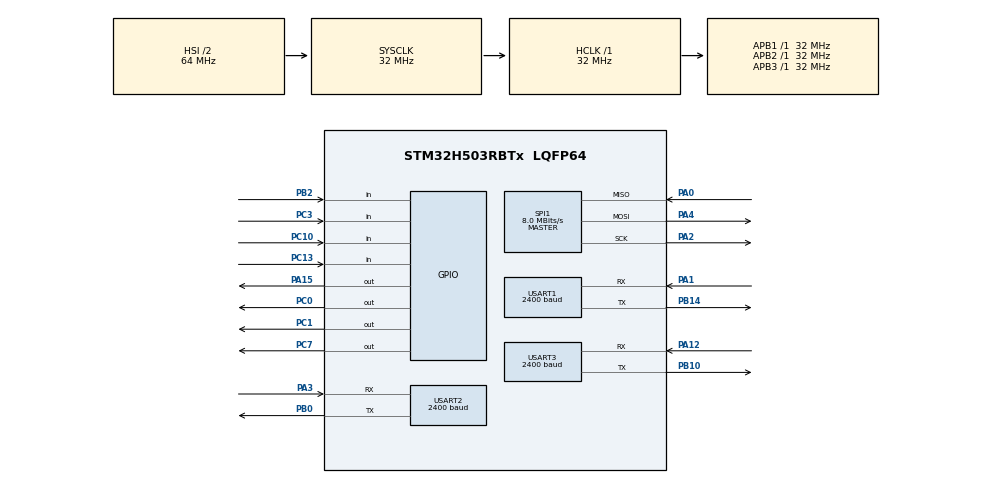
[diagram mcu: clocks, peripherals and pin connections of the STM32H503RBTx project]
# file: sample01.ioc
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GPDMA1.DIRECTION_GPDMACH7=DMA_MEMORY_TO_PERIPH
GPDMA1.IPHANDLE_GPDMACH7-SIMPLEREQUEST_GPDMACH7=__NULL
GPDMA1.REQUEST_GPDMACH7=GPDMA1_REQUEST_USART3_TX
GPDMA1.SRCINC_GPDMACH7=DMA_SINC_INCREMENTED
GPDMA2.DIRECTION_GPDMACH7=DMA_MEMORY_TO_PERIPH
GPDMA2.IPHANDLE_GPDMACH7-SIMPLEREQUEST_GPDMACH7=__NULL
GPDMA2.REQUEST_GPDMACH7=GPDMA1_REQUEST_SPI1_TX
Mcu.Family=STM32H5
Mcu.Name=STM32H503RBTx
Mcu.Package=LQFP64
NVIC.GPDMA1_Channel7_IRQn=true\:0\:0\:false\:false\:true\:false\:true\:true
NVIC.GPDMA2_Channel7_IRQn=true\:0\:0\:false\:false\:true\:false\:true\:true
NVIC.PriorityGroup=NVIC_PRIORITYGROUP_4
NVIC.TIM1_BRK_IRQn=true\:0\:0\:false\:false\:true\:true\:true\:true
NVIC.TIM1_CC_IRQn=true\:0\:0\:false\:false\:true\:true\:true\:true
NVIC.TIM1_TRG_COM_IRQn=true\:0\:0\:false\:false\:true\:true\:true\:true
NVIC.TIM1_UP_IRQn=true\:0\:0\:false\:false\:true\:true\:true\:true
NVIC.TIM2_IRQn=true\:0\:0\:false\:false\:true\:true\:true\:true
NVIC.USART1_IRQn=true\:0\:0\:false\:false\:true\:true\:true\:true
NVIC.USART2_IRQn=true\:0\:0\:false\:false\:true\:true\:true\:true
PA0.Mode=Full_Duplex_Master
PA0.Signal=SPI1_MISO
PA1.Mode=IrDA
PA1.Signal=USART1_RX
PA12.Mode=IrDA
PA12.Signal=USART3_RX
PA15(JTDI).GPIO_ModeDefaultOutputPP=GPIO_MODE_OUTPUT_PP
PA15(JTDI).GPIO_PuPd=GPIO_NOPULL
PA15(JTDI).GPIO_Speed=GPIO_SPEED_FREQ_LOW
PA15(JTDI).Signal=GPIO_Output
PA2.Mode=Full_Duplex_Master
PA2.Signal=SPI1_SCK
PA3.Mode=IrDA
PA3.Signal=USART2_RX
PA4.Mode=Full_Duplex_Master
PA4.Signal=SPI1_MOSI
PB0.Mode=IrDA
PB0.Signal=USART2_TX
PB10.Mode=IrDA
PB10.Signal=USART3_TX
PB14.Mode=IrDA
PB14.Signal=USART1_TX
PB2.GPIO_PuPd=GPIO_PULLUP
PB2.Signal=GPIO_Input
PC0.Signal=GPIO_Output
PC1.Signal=GPIO_Output
PC10.GPIO_PuPd=GPIO_PULLUP
PC10.Signal=GPIO_Input
PC13.GPIO_PuPd=GPIO_PULLUP
PC13.Signal=GPIO_Input
PC3.GPIO_PuPd=GPIO_PULLUP
PC3.Signal=GPIO_Input
PC7.Signal=GPIO_Output
PH0-OSC_IN(PH0).Mode=HSE-External-Oscillator
PH0-OSC_IN(PH0).Signal=RCC_OSC_IN
PH1-OSC_OUT(PH1).Mode=HSE-External-Oscillator
PH1-OSC_OUT(PH1).Signal=RCC_OSC_OUT
ProjectManager.HeapSize=0x200
ProjectManager.StackSize=0x400
ProjectManager.TargetToolchain=STM32CubeIDE
RCC.ADCFreq_Value=32000000
RCC.AHBFreq_Value=32000000
RCC.APB1Freq_Value=32000000
RCC.APB1TimFreq_Value=32000000
RCC.APB2Freq_Value=32000000
RCC.APB2TimFreq_Value=32000000
RCC.APB3Freq_Value=32000000
RCC.CSI_VALUE=4000000
RCC.CortexFreq_Value=32000000
RCC.EPOD_VALUE=4000000
RCC.HCLKFreq_Value=32000000
RCC.HSE_VALUE=25000000
RCC.HSI48_VALUE=48000000
RCC.HSI_VALUE=64000000
RCC.LSE_VALUE=32768
RCC.LSIRC_VALUE=32000
RCC.PLLFRACN=0
RCC.PLLN=32
RCC.SYSCLKFreq_VALUE=32000000
RCC.USBFreq_Value=48000000
RCC.VCOOutputFreq_Value=128000000
SPI1.BaudRatePrescaler=SPI_BAUDRATEPRESCALER_8
SPI1.CalculateBaudRate=8.0 MBits/s
SPI1.DataSize=SPI_DATASIZE_8BIT
SPI1.Direction=SPI_DIRECTION_2LINES
SPI1.Mode=SPI_MODE_MASTER
SPI1.VirtualType=VM_MASTER
TIM1.PeriodNoDither=10
TIM1.Prescaler=32000
TIM2.PeriodNoDither=100
TIM2.Prescaler=32000
USART1.BaudRate=2400
USART1.VirtualMode=VM_IRDA
USART2.BaudRate=2400
USART2.VirtualMode=VM_IRDA
USART3.BaudRate=2400
USART3.VirtualMode=VM_IRDA
VP_BOOTPATH_VS_BOOTPATH.Mode=BP_Activate
VP_GPDMA1_VS_GPDMACH7.Mode=SIMPLEREQUEST_GPDMACH7
VP_GPDMA2_VS_GPDMACH7.Mode=SIMPLEREQUEST_GPDMACH7
VP_MEMORYMAP_VS_MEMORYMAP.Mode=CurAppReg
VP_PWR_VS_DBSignals.Mode=DisableDeadBatterySignals
VP_PWR_VS_LPOM.Mode=PowerOptimisation
VP_PWR_VS_SECSignals.Mode=Security/Privilege
VP_TIM1_VS_ClockSourceINT.Mode=Internal
VP_TIM2_VS_ClockSourceINT.Mode=Internal
board=custom

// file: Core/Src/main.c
/* USER CODE BEGIN Header */
/**
 ******************************************************************************
 * @file           : main.c
 * @brief          : Main program body
 ******************************************************************************
 * @attention
 *
 * Copyright (c) 2023 STMicroelectronics.
 * All rights reserved.
 *
 * This software is licensed under terms that can be found in the LICENSE file
 * in the root directory of this software component.
 * If no LICENSE file comes with this software, it is provided AS-IS.
 *
 ******************************************************************************
 */
/* USER CODE END Header */
#include "main.h"

/* USER CODE BEGIN Includes */
#include "boards.h"
#include "digital_block.h"
#include <string.h>
#include <stdio.h>
/* USER CODE END Includes */

SPI_HandleTypeDef hspi1;
DMA_HandleTypeDef handle_GPDMA2_Channel7;

TIM_HandleTypeDef htim1;
TIM_HandleTypeDef htim2;

IRDA_HandleTypeDef hirda1;
IRDA_HandleTypeDef hirda2;
IRDA_HandleTypeDef hirda3;
DMA_HandleTypeDef handle_GPDMA1_Channel7;

/* USER CODE BEGIN PV */
uint8_t buff_a[] = "d";
uint8_t buff_b[] = "d";

bool a = false;
bool b = false;
bool current = false;

enum Mode mode = MODE_TRUE;
/* USER CODE END PV */

void SystemClock_Config(void);
static void MX_GPIO_Init(void);
static void MX_GPDMA1_Init(void);
static void MX_GPDMA2_Init(void);
static void MX_MEMORYMAP_Init(void);
static void MX_USART3_IRDA_Init(void);
static void MX_SPI1_Init(void);
static void MX_TIM1_Init(void);
static void MX_TIM2_Init(void);
static void MX_USART1_IRDA_Init(void);
static void MX_USART2_IRDA_Init(void);

/* USER CODE BEGIN 0 */
void HAL_IRDA_RxCpltCallback(IRDA_HandleTypeDef *huart)
{
	if (huart->Instance == hirda1.Instance) {
		if (memcmp(buff_a, code_false, code_len) == 0) {
			 a = false;
		} else if(memcmp(buff_a, code_true, code_len) == 0) {
			 a = true;
		}
		HAL_IRDA_Receive_IT(&hirda1, buff_a, code_len);
	} else if (huart->Instance == hirda2.Instance) {
		if (memcmp(buff_b, code_false, code_len) == 0) {
			 b = false;
		} else if(memcmp(buff_a, code_true, code_len) == 0) {
			 b = true;
		}
		HAL_IRDA_Receive_IT(&hirda2, buff_b, code_len);
	}
}

void transmit(bool c) {
	if (c) {
		HAL_IRDA_Transmit(&hirda3, code_true, code_len, 100);
	} else {
		HAL_IRDA_Transmit(&hirda3, code_false, code_len, 100);
	}
}

void process(enum Mode mode, bool a, bool b) {
	bool result = false;

	switch(mode) {
		case MODE_TRUE:
			result = true;
			break;
		case MODE_FALSE:
			result = false;
			break;
		case MODE_AND:
			result = a && b;
			break;
		case MODE_OR:
			result = a || b;
			break;
		case MODE_NOTA:
			result = !a;
			break;
		case MODE_NOTB:
			result = !b;
			break;
		case MODE_NAND:
			result = !(a && b);
			break;
		case MODE_NOR:
			result = !(a || b);
			break;
		case MODE_XOR:
			result = a != b;
			break;
		case MODE_EQ:
			result = a == b;
			break;
		case MODE_A:
			result = a;
			break;
		case MODE_B:
			result = b;
			break;
		case MODE_END:
			result = false;
			break;
	}

	current = result;
	transmit(result);
}

void HAL_TIM_PeriodElapsedCallback(TIM_HandleTypeDef *htim) {
  if (htim->Instance == htim1.Instance) {
	  Button_Update();
  } else if(htim->Instance == htim2.Instance){
	  process(mode, a, b);
  }
}

void Button_ShortRelease(uint8_t btnCode) {
	switch(btnCode) {
		case 0:
			break;
		case 1:
			if (mode == 0) {
				mode = MODE_END - 1;
			} else {
				mode = mode - 1;
			}
			break;
		case 2:
			mode = 0;
			break;
		case 3:
			mode = (mode + 1) % MODE_END;
			break;
	}
}

void Button_LongPress(uint8_t btnCode) {
}

void Button_LongRelease(uint8_t btnCode) {
}

void write_mode(enum Mode mode) {
	switch(mode) {
		case MODE_TRUE:
			ST7735_WriteString(40, 30, "True ", Font_16x26, ST7735_WHITE, ST7735_BLACK);
			break;
		case MODE_FALSE:
			ST7735_WriteString(40, 30, "False", Font_16x26, ST7735_WHITE, ST7735_BLACK);
			break;
		case MODE_AND:
			ST7735_WriteString(40, 30, "And  ", Font_16x26, ST7735_WHITE, ST7735_BLACK);
			break;
		case MODE_OR:
			ST7735_WriteString(40, 30, "Or   ", Font_16x26, ST7735_WHITE, ST7735_BLACK);
			break;
		case MODE_NOTA:
			ST7735_WriteString(40, 30, "Not A", Font_16x26, ST7735_WHITE, ST7735_BLACK);
			break;
		case MODE_NOTB:
			ST7735_WriteString(40, 30, "Not B", Font_16x26, ST7735_WHITE, ST7735_BLACK);
			break;
		case MODE_NAND:
			ST7735_WriteString(40, 30, "Nand ", Font_16x26, ST7735_WHITE, ST7735_BLACK);
			break;
		case MODE_NOR:
			ST7735_WriteString(40, 30, "Nor  ", Font_16x26, ST7735_WHITE, ST7735_BLACK);
			break;
		case MODE_XOR:
			ST7735_WriteString(40, 30, "Xor  ", Font_16x26, ST7735_WHITE, ST7735_BLACK);
			break;
		case MODE_EQ:
			ST7735_WriteString(40, 30, "Eq   ", Font_16x26, ST7735_WHITE, ST7735_BLACK);
			break;
		case MODE_A:
			ST7735_WriteString(40, 30, "A    ", Font_16x26, ST7735_WHITE, ST7735_BLACK);
			break;
		case MODE_B:
			ST7735_WriteString(40, 30, "B    ", Font_16x26, ST7735_WHITE, ST7735_BLACK);
			break;
		case MODE_END:
			break;
	}
}

uint8_t ReadSwitch(const GPIO_TypeDef *port, const uint32_t pin) {
	return !HAL_GPIO_ReadPin(port, pin);
}
/* USER CODE END 0 */

int main(void)
{
  /* USER CODE BEGIN 1 */
	setbuf(stdout, NULL);
  /* USER CODE END 1 */

  /* MCU Configuration--------------------------------------------------------*/

  /* Reset of all peripherals, Initializes the Flash interface and the Systick. */
  HAL_Init();

  /* Configure the system clock */
  SystemClock_Config();

  /* Initialize all configured peripherals */
  MX_GPIO_Init();
  MX_GPDMA1_Init();
  MX_GPDMA2_Init();
  MX_MEMORYMAP_Init();
  MX_USART3_IRDA_Init();
  MX_SPI1_Init();
  MX_TIM1_Init();
  MX_TIM2_Init();
  MX_USART1_IRDA_Init();
  MX_USART2_IRDA_Init();
  /* USER CODE BEGIN 2 */
	ST7735_Init();
	ST7735_InvertColors(false);
  //
  btn_instance_t btn_inst[4] = {
      {
          {0, 0, 0},
          0,
          0,
          0,
          BUTTON_RIGHT_GPIO,
          BUTTON_RIGHT_PIN,
      },
      {
          {0, 0, 0},
          0,
          0,
          0,
          BUTTON_UP_GPIO,
          BUTTON_UP_PIN,
      },
      {
          {0, 0, 0},
          0,
          0,
          0,
          BUTTON_LEFT_GPIO,
          BUTTON_LEFT_PIN,
      },
      {
          {0, 0, 0},
          0,
          0,
          0,
          BUTTON_DOWN_GPIO,
          BUTTON_DOWN_PIN,
      },
  };

  btn_init_t btn_init = {
      0,
      0,
      10,
      30,
      0,
      (port_read_cb_t)ReadSwitch,
      Button_ShortRelease,
      Button_LongRelease,
      Button_LongPress,
  };

  Button_Init(&btn_init, btn_inst, 4);
  HAL_TIM_Base_Start_IT(&htim1);	// Timer for button
  HAL_TIM_Base_Start_IT(&htim2);	// Timer for IR transmit
  ST7735_FillScreenFast(ST7735_BLACK);
  HAL_GPIO_WritePin(LED_GPIO, LED_PIN, RESET);
  HAL_IRDA_Receive_IT(&hirda1, buff_a, code_len);
  HAL_IRDA_Receive_IT(&hirda2, buff_b, code_len);
  /* USER CODE END 2 */

  /* Infinite loop */
  /* USER CODE BEGIN WHILE */
  while (1) {
    if (a) {
//    	HAL_GPIO_WritePin(GPIOA, GPIO_PIN_15, SET);
    	ST7735_WriteString(5, 5, "1", Font_16x26, ST7735_WHITE, ST7735_BLACK);
    } else {
//    	HAL_GPIO_WritePin(GPIOA, GPIO_PIN_15, RESET);
    	ST7735_WriteString(5, 5, "0", Font_16x26, ST7735_WHITE, ST7735_BLACK);
    }

    if (b) {
//    	HAL_GPIO_WritePin(GPIOA, GPIO_PIN_15, SET);
    	ST7735_WriteString(5, 49, "1", Font_16x26, ST7735_WHITE, ST7735_BLACK);
    } else {
//    	HAL_GPIO_WritePin(GPIOA, GPIO_PIN_15, RESET);
    	ST7735_WriteString(5, 49, "0", Font_16x26, ST7735_WHITE, ST7735_BLACK);
    }

    if (current) {
//    	HAL_GPIO_WritePin(GPIOA, GPIO_PIN_15, SET);
    	ST7735_WriteString(139, 30, "1", Font_16x26, ST7735_WHITE, ST7735_BLACK);
    } else {
//    	HAL_GPIO_WritePin(GPIOA, GPIO_PIN_15, RESET);
    	ST7735_WriteString(139, 30, "0", Font_16x26, ST7735_WHITE, ST7735_BLACK);
    }
    write_mode(mode);
    printf("%d, %d\r\n", mode, current);
    HAL_Delay(1000);
    /* USER CODE END WHILE */

  }
}

void SystemClock_Config(void)
{
  RCC_OscInitTypeDef RCC_OscInitStruct = {0};
  RCC_ClkInitTypeDef RCC_ClkInitStruct = {0};

  /** Configure the main internal regulator output voltage
  */
  __HAL_PWR_VOLTAGESCALING_CONFIG(PWR_REGULATOR_VOLTAGE_SCALE3);

  while(!__HAL_PWR_GET_FLAG(PWR_FLAG_VOSRDY)) {}

  /** Initializes the RCC Oscillators according to the specified parameters
  * in the RCC_OscInitTypeDef structure.
  */
  RCC_OscInitStruct.OscillatorType = RCC_OSCILLATORTYPE_HSI|RCC_OSCILLATORTYPE_CSI;
  RCC_OscInitStruct.HSIState = RCC_HSI_ON;
  RCC_OscInitStruct.HSIDiv = RCC_HSI_DIV2;
  RCC_OscInitStruct.HSICalibrationValue = RCC_HSICALIBRATION_DEFAULT;
  RCC_OscInitStruct.CSIState = RCC_CSI_ON;
  RCC_OscInitStruct.CSICalibrationValue = RCC_CSICALIBRATION_DEFAULT;
  RCC_OscInitStruct.PLL.PLLState = RCC_PLL_ON;
  RCC_OscInitStruct.PLL.PLLSource = RCC_PLL1_SOURCE_CSI;
  RCC_OscInitStruct.PLL.PLLM = 1;
  RCC_OscInitStruct.PLL.PLLN = 32;
  RCC_OscInitStruct.PLL.PLLP = 2;
  RCC_OscInitStruct.PLL.PLLQ = 2;
  RCC_OscInitStruct.PLL.PLLR = 2;
  RCC_OscInitStruct.PLL.PLLRGE = RCC_PLL1_VCIRANGE_2;
  RCC_OscInitStruct.PLL.PLLVCOSEL = RCC_PLL1_VCORANGE_WIDE;
  RCC_OscInitStruct.PLL.PLLFRACN = 0;
  if (HAL_RCC_OscConfig(&RCC_OscInitStruct) != HAL_OK)
  {
    Error_Handler();
  }

  /** Initializes the CPU, AHB and APB buses clocks
  */
  RCC_ClkInitStruct.ClockType = RCC_CLOCKTYPE_HCLK|RCC_CLOCKTYPE_SYSCLK
                              |RCC_CLOCKTYPE_PCLK1|RCC_CLOCKTYPE_PCLK2
                              |RCC_CLOCKTYPE_PCLK3;
  RCC_ClkInitStruct.SYSCLKSource = RCC_SYSCLKSOURCE_HSI;
  RCC_ClkInitStruct.AHBCLKDivider = RCC_SYSCLK_DIV1;
  RCC_ClkInitStruct.APB1CLKDivider = RCC_HCLK_DIV1;
  RCC_ClkInitStruct.APB2CLKDivider = RCC_HCLK_DIV1;
  RCC_ClkInitStruct.APB3CLKDivider = RCC_HCLK_DIV1;

  if (HAL_RCC_ClockConfig(&RCC_ClkInitStruct, FLASH_LATENCY_1) != HAL_OK)
  {
    Error_Handler();
  }
}

static void MX_GPDMA1_Init(void)
{

  /* Peripheral clock enable */
  __HAL_RCC_GPDMA1_CLK_ENABLE();

  /* GPDMA1 interrupt Init */
    HAL_NVIC_SetPriority(GPDMA1_Channel7_IRQn, 0, 0);
    HAL_NVIC_EnableIRQ(GPDMA1_Channel7_IRQn);

}

static void MX_GPDMA2_Init(void)
{

  /* Peripheral clock enable */
  __HAL_RCC_GPDMA2_CLK_ENABLE();

  /* GPDMA2 interrupt Init */
    HAL_NVIC_SetPriority(GPDMA2_Channel7_IRQn, 0, 0);
    HAL_NVIC_EnableIRQ(GPDMA2_Channel7_IRQn);

}

static void MX_MEMORYMAP_Init(void)
{

}

static void MX_SPI1_Init(void)
{

  /* SPI1 parameter configuration*/
  hspi1.Instance = SPI1;
  hspi1.Init.Mode = SPI_MODE_MASTER;
  hspi1.Init.Direction = SPI_DIRECTION_2LINES;
  hspi1.Init.DataSize = SPI_DATASIZE_8BIT;
  hspi1.Init.CLKPolarity = SPI_POLARITY_LOW;
  hspi1.Init.CLKPhase = SPI_PHASE_1EDGE;
  hspi1.Init.NSS = SPI_NSS_SOFT;
  hspi1.Init.BaudRatePrescaler = SPI_BAUDRATEPRESCALER_8;
  hspi1.Init.FirstBit = SPI_FIRSTBIT_MSB;
  hspi1.Init.TIMode = SPI_TIMODE_DISABLE;
  hspi1.Init.CRCCalculation = SPI_CRCCALCULATION_DISABLE;
  hspi1.Init.CRCPolynomial = 0x7;
  hspi1.Init.NSSPMode = SPI_NSS_PULSE_ENABLE;
  hspi1.Init.NSSPolarity = SPI_NSS_POLARITY_LOW;
  hspi1.Init.FifoThreshold = SPI_FIFO_THRESHOLD_01DATA;
  hspi1.Init.MasterSSIdleness = SPI_MASTER_SS_IDLENESS_00CYCLE;
  hspi1.Init.MasterInterDataIdleness = SPI_MASTER_INTERDATA_IDLENESS_00CYCLE;
  hspi1.Init.MasterReceiverAutoSusp = SPI_MASTER_RX_AUTOSUSP_DISABLE;
  hspi1.Init.MasterKeepIOState = SPI_MASTER_KEEP_IO_STATE_DISABLE;
  hspi1.Init.IOSwap = SPI_IO_SWAP_DISABLE;
  hspi1.Init.ReadyMasterManagement = SPI_RDY_MASTER_MANAGEMENT_INTERNALLY;
  hspi1.Init.ReadyPolarity = SPI_RDY_POLARITY_HIGH;
  if (HAL_SPI_Init(&hspi1) != HAL_OK)
  {
    Error_Handler();
  }

}

static void MX_TIM1_Init(void)
{

  TIM_ClockConfigTypeDef sClockSourceConfig = {0};
  TIM_MasterConfigTypeDef sMasterConfig = {0};

  htim1.Instance = TIM1;
  htim1.Init.Prescaler = 32000;
  htim1.Init.CounterMode = TIM_COUNTERMODE_UP;
  htim1.Init.Period = 10;
  htim1.Init.ClockDivision = TIM_CLOCKDIVISION_DIV1;
  htim1.Init.RepetitionCounter = 0;
  htim1.Init.AutoReloadPreload = TIM_AUTORELOAD_PRELOAD_DISABLE;
  if (HAL_TIM_Base_Init(&htim1) != HAL_OK)
  {
    Error_Handler();
  }
  sClockSourceConfig.ClockSource = TIM_CLOCKSOURCE_INTERNAL;
  if (HAL_TIM_ConfigClockSource(&htim1, &sClockSourceConfig) != HAL_OK)
  {
    Error_Handler();
  }
  sMasterConfig.MasterOutputTrigger = TIM_TRGO_RESET;
  sMasterConfig.MasterOutputTrigger2 = TIM_TRGO2_RESET;
  sMasterConfig.MasterSlaveMode = TIM_MASTERSLAVEMODE_DISABLE;
  if (HAL_TIMEx_MasterConfigSynchronization(&htim1, &sMasterConfig) != HAL_OK)
  {
    Error_Handler();
  }

}

static void MX_TIM2_Init(void)
{

  TIM_ClockConfigTypeDef sClockSourceConfig = {0};
  TIM_MasterConfigTypeDef sMasterConfig = {0};

  htim2.Instance = TIM2;
  htim2.Init.Prescaler = 32000;
  htim2.Init.CounterMode = TIM_COUNTERMODE_UP;
  htim2.Init.Period = 100;
  htim2.Init.ClockDivision = TIM_CLOCKDIVISION_DIV1;
  htim2.Init.AutoReloadPreload = TIM_AUTORELOAD_PRELOAD_DISABLE;
  if (HAL_TIM_Base_Init(&htim2) != HAL_OK)
  {
    Error_Handler();
  }
  sClockSourceConfig.ClockSource = TIM_CLOCKSOURCE_INTERNAL;
  if (HAL_TIM_ConfigClockSource(&htim2, &sClockSourceConfig) != HAL_OK)
  {
    Error_Handler();
  }
  sMasterConfig.MasterOutputTrigger = TIM_TRGO_RESET;
  sMasterConfig.MasterSlaveMode = TIM_MASTERSLAVEMODE_DISABLE;
  if (HAL_TIMEx_MasterConfigSynchronization(&htim2, &sMasterConfig) != HAL_OK)
  {
    Error_Handler();
  }

}

static void MX_USART1_IRDA_Init(void)
{

  hirda1.Instance = USART1;
  hirda1.Init.BaudRate = 2400;
  hirda1.Init.WordLength = IRDA_WORDLENGTH_8B;
  hirda1.Init.Parity = IRDA_PARITY_NONE;
  hirda1.Init.Mode = IRDA_MODE_TX_RX;
  hirda1.Init.Prescaler = 10;
  hirda1.Init.PowerMode = IRDA_POWERMODE_NORMAL;
  hirda1.Init.ClockPrescaler = IRDA_PRESCALER_DIV1;
  if (HAL_IRDA_Init(&hirda1) != HAL_OK)
  {
    Error_Handler();
  }

}

static void MX_USART2_IRDA_Init(void)
{

  hirda2.Instance = USART2;
  hirda2.Init.BaudRate = 2400;
  hirda2.Init.WordLength = IRDA_WORDLENGTH_8B;
  hirda2.Init.Parity = IRDA_PARITY_NONE;
  hirda2.Init.Mode = IRDA_MODE_TX_RX;
  hirda2.Init.Prescaler = 10;
  hirda2.Init.PowerMode = IRDA_POWERMODE_NORMAL;
  hirda2.Init.ClockPrescaler = IRDA_PRESCALER_DIV1;
  if (HAL_IRDA_Init(&hirda2) != HAL_OK)
  {
    Error_Handler();
  }

}

static void MX_USART3_IRDA_Init(void)
{

  hirda3.Instance = USART3;
  hirda3.Init.BaudRate = 2400;
  hirda3.Init.WordLength = IRDA_WORDLENGTH_8B;
  hirda3.Init.Parity = IRDA_PARITY_NONE;
  hirda3.Init.Mode = IRDA_MODE_TX_RX;
  hirda3.Init.Prescaler = 10;
  hirda3.Init.PowerMode = IRDA_POWERMODE_NORMAL;
  hirda3.Init.ClockPrescaler = IRDA_PRESCALER_DIV1;
  if (HAL_IRDA_Init(&hirda3) != HAL_OK)
  {
    Error_Handler();
  }

}

static void MX_GPIO_Init(void)
{
  GPIO_InitTypeDef GPIO_InitStruct = {0};

  /* GPIO Ports Clock Enable */
  __HAL_RCC_GPIOC_CLK_ENABLE();
  __HAL_RCC_GPIOH_CLK_ENABLE();
  __HAL_RCC_GPIOA_CLK_ENABLE();
  __HAL_RCC_GPIOB_CLK_ENABLE();

  /*Configure GPIO pin Output Level */
  HAL_GPIO_WritePin(GPIOC, GPIO_PIN_0|GPIO_PIN_1|GPIO_PIN_7, GPIO_PIN_RESET);

  /*Configure GPIO pin Output Level */
  HAL_GPIO_WritePin(GPIOA, GPIO_PIN_15, GPIO_PIN_RESET);

  /*Configure GPIO pins : PC13 PC3 PC10 */
  GPIO_InitStruct.Pin = GPIO_PIN_13|GPIO_PIN_3|GPIO_PIN_10;
  GPIO_InitStruct.Mode = GPIO_MODE_INPUT;
  GPIO_InitStruct.Pull = GPIO_PULLUP;
  HAL_GPIO_Init(GPIOC, &GPIO_InitStruct);

  /*Configure GPIO pins : PC0 PC1 PC7 */
  GPIO_InitStruct.Pin = GPIO_PIN_0|GPIO_PIN_1|GPIO_PIN_7;
  GPIO_InitStruct.Mode = GPIO_MODE_OUTPUT_PP;
  GPIO_InitStruct.Pull = GPIO_NOPULL;
  GPIO_InitStruct.Speed = GPIO_SPEED_FREQ_LOW;
  HAL_GPIO_Init(GPIOC, &GPIO_InitStruct);

  /*Configure GPIO pin : PB2 */
  GPIO_InitStruct.Pin = GPIO_PIN_2;
  GPIO_InitStruct.Mode = GPIO_MODE_INPUT;
  GPIO_InitStruct.Pull = GPIO_PULLUP;
  HAL_GPIO_Init(GPIOB, &GPIO_InitStruct);

  /*Configure GPIO pin : PA15 */
  GPIO_InitStruct.Pin = GPIO_PIN_15;
  GPIO_InitStruct.Mode = GPIO_MODE_OUTPUT_PP;
  GPIO_InitStruct.Pull = GPIO_NOPULL;
  GPIO_InitStruct.Speed = GPIO_SPEED_FREQ_LOW;
  HAL_GPIO_Init(GPIOA, &GPIO_InitStruct);

}

/* USER CODE BEGIN 4 */
int _write(int file, char *ptr, int len)
{
//  HAL_UART_Transmit(&huart2,(uint8_t *)ptr,len,10);
  return len;
}
/* USER CODE END 4 */

void Error_Handler(void)
{
  __disable_irq();
  while (1) {
  }
}

#ifdef  USE_FULL_ASSERT
/**
  * @brief  Reports the name of the source file and the source line number
  *         where the assert_param error has occurred.
  * @param  file: pointer to the source file name
  * @param  line: assert_param error line source number
  * @retval None
  */
void assert_failed(uint8_t *file, uint32_t line)
{
  /* USER CODE BEGIN 6 */
  /* User can add his own implementation to report the file name and line
     number,
     ex: printf("Wrong parameters value: file %s on line %d\r\n", file, line) */
  /* USER CODE END 6 */
}
#endif /* USE_FULL_ASSERT */
